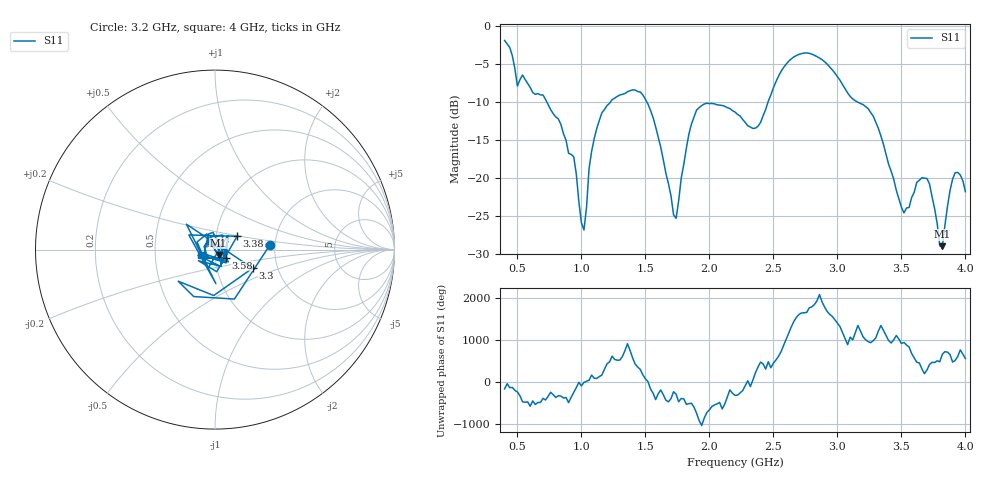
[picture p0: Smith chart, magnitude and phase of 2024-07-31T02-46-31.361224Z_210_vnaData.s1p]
!Created with skrf (http://scikit-rf.org).
# Hz S RI R 50.0
!freq ReS11 ImS11
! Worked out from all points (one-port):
!   181 points, 400 MHz to 4 GHz, reference 50 ohm
!   lowest |S11| = -28.9 dB at 3.82 GHz (marker M1), VSWR 1.07, Z = 52 - j3.06 ohm
!   |S11| at or under -10 dB: 731.1 MHz to 1.226 GHz (494.7 MHz wide, 50.6 % of centre); 1.512 GHz to 2.458 GHz (945.3 MHz wide, 47.6 % of centre); 3.16 GHz to end of sweep
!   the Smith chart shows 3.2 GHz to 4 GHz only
!   S11 on the Smith chart (normalised r, x): 3.2 GHz: 1.87, +0.10; 3.3 GHz: 1.49, -0.33; 3.38 GHz: 1.26, +0.19; 3.58 GHz: 1.12, -0.10; 4 GHz: 0.86, -0.05
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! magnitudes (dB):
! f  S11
! 400 MHz  -1.9
! 500 MHz  -7.9
! 700 MHz  -9.1
! 860 MHz  -14.2
! 940 MHz  -17.2
! 1.02 GHz  -26.8
! 1.06 GHz  -18.7
! 1.12 GHz  -13.4
! 1.3 GHz  -9.1
! 1.5 GHz  -9.6
! 1.72 GHz  -24.8
! 1.76 GHz  -22.9
! 1.9 GHz  -11.0
! 2.2 GHz  -11.3
! 2.38 GHz  -13.2
! 2.66 GHz  -4.0
! 2.88 GHz  -4.4
! 3.1 GHz  -9.2
! 3.2 GHz  -10.3
! 3.3 GHz  -12.6
! 3.38 GHz  -16.9
! 3.5 GHz  -23.8
! 3.56 GHz  -23.8
! 3.58 GHz  -22.5
! 3.7 GHz  -20.0
! 3.82 GHz  -28.9
! 3.92 GHz  -19.3
! 4 GHz  -21.8
